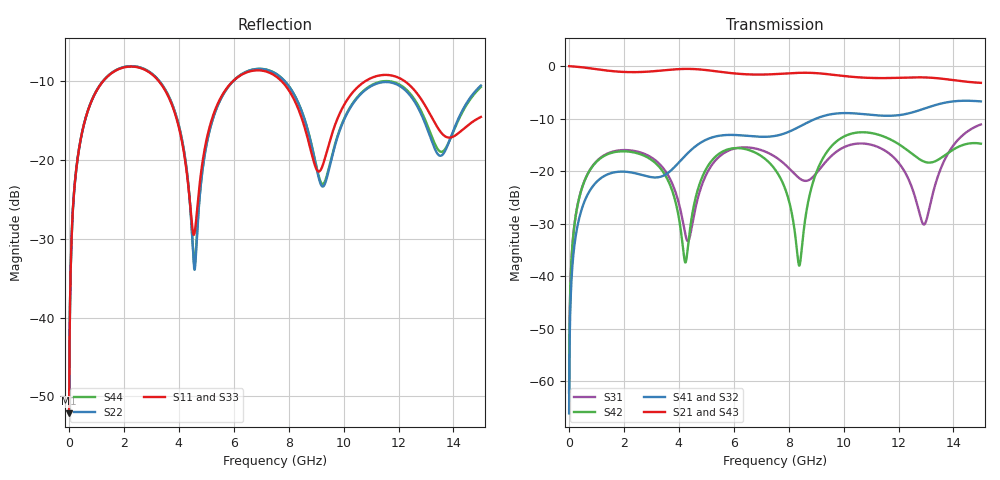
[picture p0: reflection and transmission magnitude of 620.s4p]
! Created with skrf 1.8.0 (http://scikit-rf.org).
# GHz S RI R 50.0
!freq ReS11 ImS11 ReS12 ImS12 ReS13 ImS13
! ReS14 ImS14
! ReS21 ImS21 ReS22 ImS22 ReS23 ImS23
! ReS24 ImS24
! ReS31 ImS31 ReS32 ImS32 ReS33 ImS33
! ReS34 ImS34
! ReS41 ImS41 ReS42 ImS42 ReS43 ImS43
! ReS44 ImS44
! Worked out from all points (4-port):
!   2499 points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, 5 MHz to 15 GHz, reference 50 ohm
!   strongest paths, dB at 5 MHz, 3.476 GHz, 7.19 GHz, 11.1 GHz, 15 GHz:
!     S21: 0.0, -0.8, -1.6, -2.3, -3.2
!     S43: 0.0, -0.8, -1.6, -2.3, -3.2
!     S41: -66.1, -20.8, -13.5, -9.3, -6.7
!     S32: -66.1, -20.8, -13.5, -9.3, -6.7
!     S42: -62.1, -20.5, -17.9, -12.8, -14.8
!     S31: -62.1, -19.7, -16.4, -15.1, -11.1
!   lowest |S11| = -52.2 dB at 5 MHz (marker M1), VSWR 1.00, Z = 50.2 + j0.15 ohm
!   |S11| at or under -10 dB: 3.272 GHz to 5.972 GHz (2.7 GHz wide, 58.4 % of centre); 7.742 GHz to 10.79 GHz (3.049 GHz wide, 32.9 % of centre); 12.23 GHz to end of sweep (the widest 3 of 4)
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0.005  0.00196 0.00149  0.998 -0.00382  9.97e-05 0.000776  -9.67e-05 -0.000488
       0.998 -0.00382  0.00196 0.00149  -9.67e-05 -0.000488  9.95e-05 0.000777
       9.97e-05 0.000776  -9.67e-05 -0.000488  0.00196 0.00149  0.998 -0.00382
       -9.67e-05 -0.000488  9.95e-05 0.000777  0.998 -0.00382  0.00196 0.00149
0.3126303  0.0326 0.0964  0.9552 -0.2358  0.0157 0.0449  -0.0127 -0.0276
           0.9552 -0.2358  0.0327 0.0964  -0.0127 -0.0276  0.015 0.0451
           0.0157 0.0449  -0.0127 -0.0276  0.0326 0.0964  0.9552 -0.2358
           -0.0127 -0.0276  0.015 0.0451  0.9552 -0.2358  0.0327 0.0963
1.3193  0.2758 0.1763  0.5356 -0.7364  0.1327 0.0549  -0.091 -0.00396
        0.5356 -0.7364  0.278 0.1748  -0.0909 -0.00405  0.1264 0.0637
        0.1327 0.0549  -0.0909 -0.00405  0.2759 0.1763  0.5355 -0.7365
        -0.091 -0.00396  0.1264 0.0637  0.5355 -0.7365  0.278 0.1749
4.445602  0.035 -0.0283  -0.928 -0.1444  -0.018 0.0203  -0.0198 0.1578
          -0.928 -0.1444  0.0221 -0.0363  -0.0216 0.1576  0.0161 0.0289
          -0.018 0.0203  -0.0216 0.1576  0.0334 -0.0282  -0.928 -0.1441
          -0.0198 0.1578  0.0161 0.0289  -0.928 -0.1441  0.0235 -0.0359
9.178825  0.0862 0.0127  0.8427 0.1105  -0.044 0.0992  0.0323 -0.3278
          0.8427 0.1105  0.0665 -0.02  0.0387 -0.3275  0.0358 0.1176
          -0.044 0.0992  0.0387 -0.3275  0.0834 0.0142  0.8427 0.1099
          0.0323 -0.3278  0.0358 0.1176  0.8427 0.1099  0.069 -0.0199
11.98624  0.3245 -0.0779  -0.0871 -0.7686  0.079 -0.0927  -0.3293 0.0875
          -0.0871 -0.7686  0.2931 -0.0578  -0.3306 0.0784  0.0738 -0.1667
          0.079 -0.0927  -0.3306 0.0784  0.3318 -0.0768  -0.0869 -0.7664
          -0.3293 0.0875  0.0738 -0.1667  -0.0869 -0.7664  0.2983 -0.0601
15  0.1862 0.0219  -0.5811 0.377  0.2777 0.0193  0.3118 0.3401
    -0.5811 0.377  0.2723 0.1184  0.2995 0.3488  0.1225 0.1354
    0.2777 0.0193  0.2995 0.3488  0.1854 0.0198  -0.5823 0.3775
    0.3118 0.3401  0.1225 0.1354  -0.5823 0.3775  0.2698 0.1075
